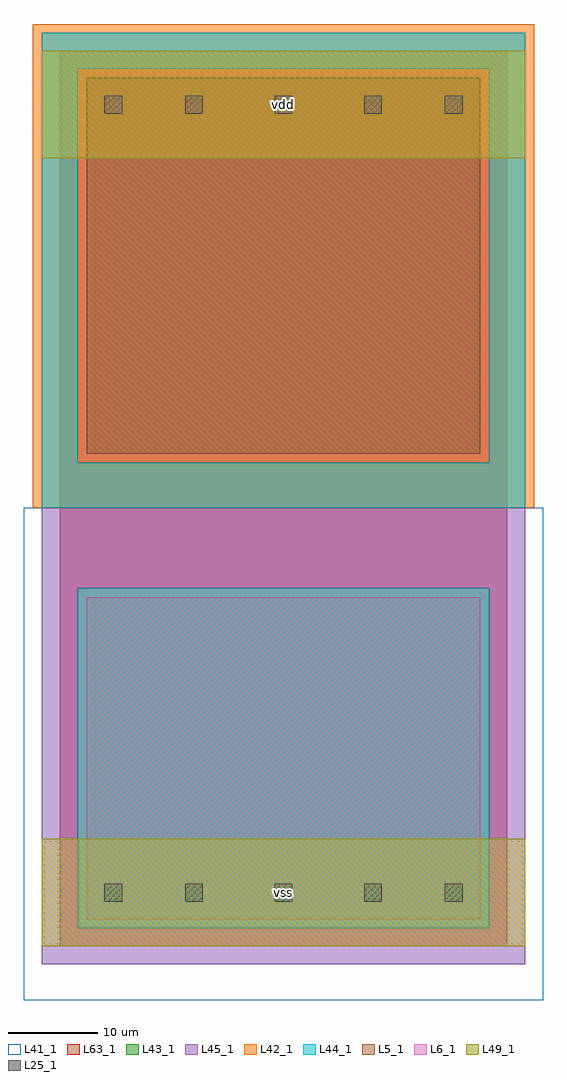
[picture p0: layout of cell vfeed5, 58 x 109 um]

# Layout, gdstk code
import gdstk
lib = gdstk.Library(unit=1e-6, precision=1e-09)
def R(c, l, rs):  # rectangles x0, y0, x1, y1
    for r in rs: c.add(gdstk.rectangle(r[:2], r[2:], *l))
def A(c, l, x, y, w, h, nx, ny, dx, dy):  # array of equal rectangles
    R(c, l, [(x+i*dx, y+j*dy, x+i*dx+w, y+j*dy+h) for i in range(nx) for j in range(ny)])
L5_1 = (5, 1)
L6_1 = (6, 1)
L25_1 = (25, 1)
L41_1 = (41, 1)
L42_1 = (42, 1)
L43_1 = (43, 1)
L44_1 = (44, 1)
L45_1 = (45, 1)
L49_1 = (49, 1)
L63_1 = (63, 1)

vfeed5 = lib.new_cell('vfeed5')
R(vfeed5, L5_1, [(3,55,47,97)])
R(vfeed5, L6_1, [(3,3,47,39)])
A(vfeed5, L25_1, 14, 5, 2, 2, 3, 2, 10, 88)
R(vfeed5, L25_1, [(5,5,7,7), (43,5,45,7), (5,93,7,95), (43,93,45,95)])
R(vfeed5, L41_1, [(-4,-6,54,49), (-3,-3,53,49)])
R(vfeed5, L42_1, [(-3,49,53,103)])
R(vfeed5, L43_1, [(3,3,47,39), (3,55,47,97)])
R(vfeed5, L44_1, [(2,2,48,40), (-2,49,52,54), (-2,54,2,98), (48,54,52,98), (-2,98,52,102)])
R(vfeed5, L45_1, [(-2,-2,52,2), (-2,2,2,40), (48,2,52,40), (-2,40,52,49), (2,54,48,98)])
R(vfeed5, L49_1, [(-2,0,52,12), (-2,88,52,100)])
R(vfeed5, L63_1, [(0,0,50,100)])
vfeed5.add(gdstk.Label('vss', (25,6), layer=49, texttype=1))
vfeed5.add(gdstk.Label('vss', (25,6), layer=49, texttype=1))
vfeed5.add(gdstk.Label('vdd', (25,94), layer=49, texttype=1))
vfeed5.add(gdstk.Label('vdd', (25,94), layer=49, texttype=1))

lib.write_gds('vfeed5.gds')
